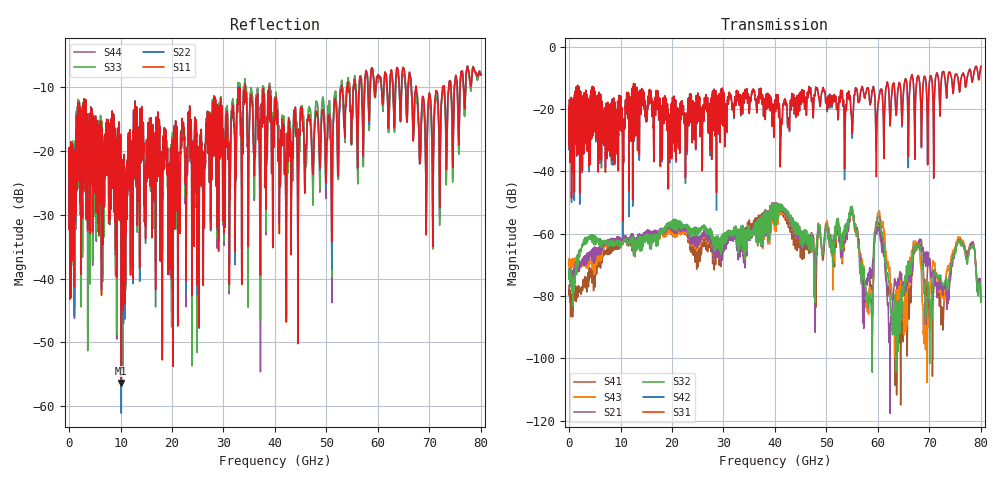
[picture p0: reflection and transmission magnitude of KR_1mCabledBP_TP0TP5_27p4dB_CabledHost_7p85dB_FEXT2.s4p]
!! Reference: shanbhag_3dj_02_2305.pdf
!! CHANNEL DESCRIPTION: TP0_TP5 KR Channel using 1meter Cabled BP, Cabled Host
!! CABLE DESCRIPTION: 1meter 26AWG Cable
!! MODEL STATUS: Developmental
!! PORT DEFINITIONS:
!! Port  1  ----->  Side A  Side B  <-----  Port  2
!! Port  3  ----->  Side A  Side B  <-----  Port  4
# HZ S MA R 50.000000
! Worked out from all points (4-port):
!   8000 points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, 10 MHz to 80 GHz, reference 50 ohm
!   strongest paths, dB at 10 MHz, 20.01 GHz, 40.01 GHz, 60.01 GHz, 80 GHz:
!     S31: -24.2, -20.9, -17.5, -18.6, -6.3
!     S42: -24.5, -20.9, -17.7, -19.4, -6.4
!     S32: -72.2, -57.9, -54.2, -54.6, -82.1
!     S21: -71.6, -58.2, -53.8, -58.5, -81.6
!     S43: -69.6, -59.5, -55.3, -53.3, -82.0
!     S41: -78.2, -59.4, -53.7, -56.7, -81.6
!   lowest |S11| = -56.4 dB at 10.16 GHz (marker M1), VSWR 1.00, Z = 49.9 + j0.0389 ohm
!   |S11| at or under -10 dB: start of sweep to 34.12 GHz; 38.96 GHz to 52.9 GHz (13.94 GHz wide, 30.4 % of centre); 67.45 GHz to 72.57 GHz (5.124 GHz wide, 7.32 % of centre) (the widest 3 of 22)
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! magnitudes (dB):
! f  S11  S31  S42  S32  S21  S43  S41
! 10 MHz  -23.3  -24.2  -24.5  -72.2  -71.6  -69.6  -78.2
! 10.16 GHz  -56.4  -26.8  -27.0  -63.6  -62.0  -62.2  -63.7
! 54.75 GHz  -14.4  -20.3  -20.7  -52.2  -53.2  -53.0  -53.2
! 58.12 GHz  -11.7  -13.3  -13.2  -82.9  -72.7  -82.6  -81.8
! 60.2 GHz  -8.3  -16.2  -16.5  -54.4  -58.4  -53.0  -56.6
! 63.1 GHz  -15.0  -11.6  -11.8  -88.0  -77.8  -82.3  -85.8
! 80 GHz  -8.0  -6.3  -6.4  -82.1  -81.6  -82.0  -81.6
